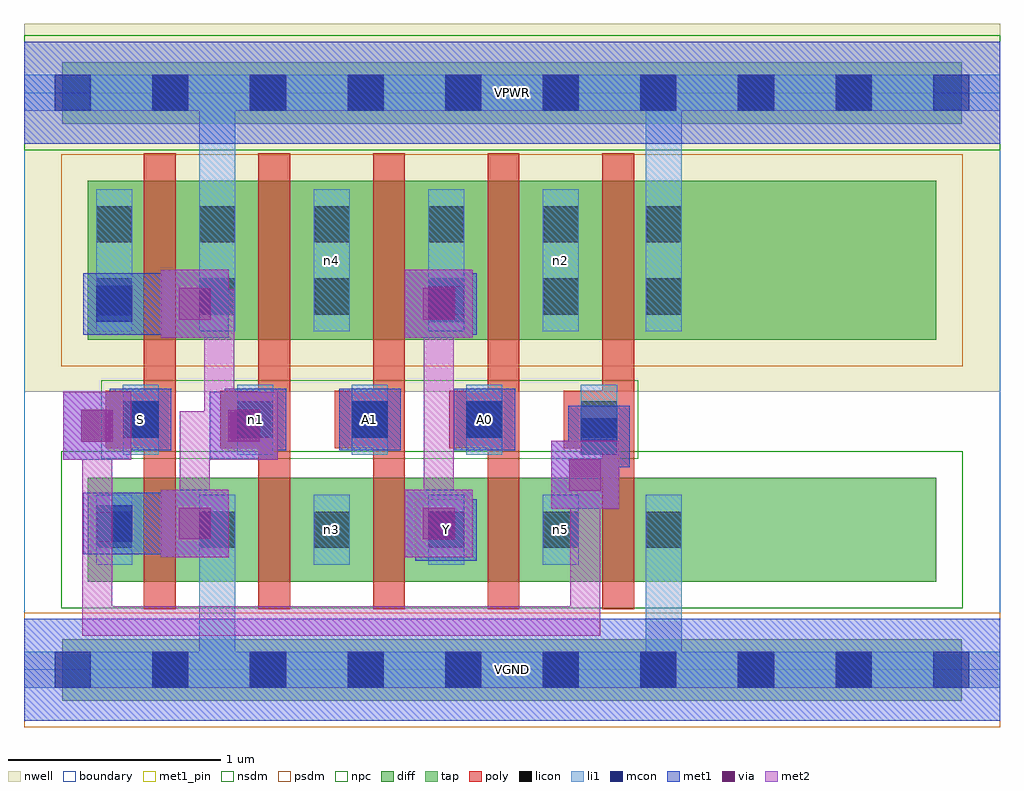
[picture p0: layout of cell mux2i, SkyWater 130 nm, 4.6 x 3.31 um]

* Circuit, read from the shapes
.subckt mux2i A0 A1 S VGND VPWR Y n1 n2 n3 n4 n5
XM1 VGND S n1 VGND sky130_fd_pr__nfet_01v8 w=0.49 l=0.15
XM2 n3 n1 VGND VGND sky130_fd_pr__nfet_01v8 w=0.49 l=0.15
XM3 Y A1 n3 VGND sky130_fd_pr__nfet_01v8 w=0.49 l=0.15
XM4 n5 A0 Y VGND sky130_fd_pr__nfet_01v8 w=0.49 l=0.15
XM5 VGND S n5 VGND sky130_fd_pr__nfet_01v8 w=0.49 l=0.15
XM6 VPWR S n1 VPWR sky130_fd_pr__pfet_01v8 w=0.75 l=0.15
XM7 n4 n1 VPWR VPWR sky130_fd_pr__pfet_01v8 w=0.75 l=0.15
XM8 Y A1 n4 VPWR sky130_fd_pr__pfet_01v8 w=0.75 l=0.15
XM9 n2 A0 Y VPWR sky130_fd_pr__pfet_01v8 w=0.75 l=0.15
XM10 VPWR S n2 VPWR sky130_fd_pr__pfet_01v8 w=0.75 l=0.15
.ends

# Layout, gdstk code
import gdstk
lib = gdstk.Library(unit=1e-6, precision=1e-09)
def R(c, l, rs):  # rectangles x0, y0, x1, y1
    for r in rs: c.add(gdstk.rectangle(r[:2], r[2:], *l))
def A(c, l, x, y, w, h, nx, ny, dx, dy):  # array of equal rectangles
    R(c, l, [(x+i*dx, y+j*dy, x+i*dx+w, y+j*dy+h) for i in range(nx) for j in range(ny)])
nwell = (64, 20)
diff = (65, 20)
tap = (65, 44)
poly = (66, 20)
licon = (66, 44)
li1 = (67, 20)
mcon = (67, 44)
met1_pin = (68, 16)
met1 = (68, 20)
via = (68, 44)
met2 = (69, 20)
nsdm = (93, 44)
psdm = (94, 20)
npc = (95, 20)
boundary = (235, 4)

mux2i = lib.new_cell('mux2i')
R(mux2i, nwell, [(0,1.31,4.6,3.045)])
R(mux2i, diff, [(0.3,0.415,4.3,0.905), (0.3,1.555,4.3,2.305)])
R(mux2i, tap, [(0.18,-0.145,4.42,0.145), (0.18,2.575,4.42,2.865)])
A(mux2i, poly, 0.565, 0.285, 0.15, 2.15, 5, 1, 0.54, 0)
A(mux2i, poly, 0.385, 1.045, 0.33, 0.27, 5, 1, 0.54, 0)
A(mux2i, licon, 0.605, -0.085, 0.17, 0.17, 8, 2, 0.46, 2.72)
A(mux2i, licon, 0.825, 0.575, 0.17, 0.17, 4, 2, 0.54, 1.1)
A(mux2i, licon, 0.465, 1.095, 0.17, 0.17, 5, 1, 0.54, 0)
A(mux2i, licon, 0.825, 2.015, 0.17, 0.17, 4, 1, 0.54, 0)
R(mux2i, licon, [(0.34,0.575,0.51,0.745), (2.93,0.575,3.1,0.745), (0.34,1.675,0.51,1.845), (2.93,1.675,3.1,1.845), (0.34,2.015,0.51,2.185), (2.93,2.015,3.1,2.185)])
A(mux2i, li1, 0.825, 0.495, 0.17, 0.33, 4, 1, 0.54, 0)
A(mux2i, li1, 0.465, 1.015, 0.17, 0.33, 5, 1, 0.54, 0)
A(mux2i, li1, 0.825, 1.595, 0.17, 0.67, 4, 1, 0.54, 0)
R(mux2i, li1, [(0,-0.085,4.6,0.085), (0.825,-0.085,0.995,0.825), (2.93,-0.085,3.1,0.825), (0.34,0.495,0.51,0.825), (2.93,0.495,3.1,0.825), (0.34,1.595,0.51,2.265), (0.825,1.595,0.995,2.805), (2.93,1.595,3.1,2.265), (2.93,1.595,3.1,2.805), (0,2.635,4.6,2.805)])
A(mux2i, mcon, 0.145, -0.085, 0.17, 0.17, 10, 2, 0.46, 2.72)
A(mux2i, mcon, 0.465, 1.095, 0.17, 0.17, 4, 1, 0.54, 0)
R(mux2i, mcon, [(1.905,0.575,2.075,0.745), (0.34,0.605,0.51,0.775), (2.625,1.015,2.795,1.185), (0.34,1.64,0.51,1.81), (1.905,1.64,2.075,1.81)])
A(mux2i, met1_pin, 0.405, 1.035, 0.29, 0.29, 4, 1, 0.54, 0)
R(mux2i, met1_pin, [(0,-0.24,4.6,0.24), (1.845,0.515,2.135,0.805), (0,2.48,4.6,2.96)])
A(mux2i, met1, 0.405, 1.035, 0.29, 0.29, 4, 1, 0.54, 0)
R(mux2i, met1, [(0,-0.24,4.6,0.24), (1.845,0.515,2.135,0.805), (0.645,0.53,0.965,0.85), (1.795,0.53,2.115,0.85), (0.28,0.545,0.57,0.835), (0.57,0.545,0.645,0.835), (0.355,0.62,0.645,0.76), (0.505,0.62,0.875,0.76), (1.885,0.62,2.025,0.76), (2.485,0.76,2.805,1.08), (2.575,0.85,2.715,1.17), (2.565,0.955,2.855,1.245), (0.185,0.99,0.505,1.31), (0.875,0.99,1.195,1.31), (2.575,1.03,2.78,1.17), (0.275,1.08,0.645,1.22), (0.505,1.08,0.645,1.22), (0.965,1.08,1.105,1.22), (0.645,1.565,0.965,1.885), (1.795,1.565,2.115,1.885), (0.28,1.58,0.57,1.87), (0.57,1.58,0.645,1.87), (1.845,1.58,2.135,1.87), (0.355,1.655,0.645,1.795), (0.505,1.655,0.875,1.795), (1.885,1.655,2.06,1.795), (0,2.48,4.6,2.96)])
R(mux2i, via, [(0.73,0.615,0.88,0.765), (1.88,0.615,2.03,0.765), (2.57,0.845,2.72,0.995), (0.27,1.075,0.42,1.225), (0.96,1.075,1.11,1.225), (0.73,1.65,0.88,1.8), (1.88,1.65,2.03,1.8)])
R(mux2i, met2, [(0.275,0.16,0.415,1.22), (0.275,0.16,2.715,0.3), (2.575,0.16,2.715,0.99), (0.645,0.53,0.965,0.85), (1.795,0.53,2.115,0.85), (0.735,0.62,0.875,1.22), (1.885,0.62,2.025,1.795), (2.485,0.76,2.805,1.08), (0.185,0.99,0.505,1.31), (0.875,0.99,1.195,1.31), (0.735,1.08,1.105,1.22), (0.85,1.08,0.99,1.795), (0.645,1.565,0.965,1.885), (1.795,1.565,2.115,1.885), (0.735,1.655,0.99,1.795)])
R(mux2i, nsdm, [(0.175,0.29,4.425,1.03), (0,2.45,4.6,2.99)])
R(mux2i, psdm, [(0,-0.27,4.6,0.27), (0.175,1.43,4.425,2.43)])
R(mux2i, npc, [(0.365,0.995,2.895,1.365)])
R(mux2i, boundary, [(0,0,4.6,2.72)])
mux2i.add(gdstk.Label('n3', (1.45,0.66), layer=67, texttype=5))
mux2i.add(gdstk.Label('n5', (2.53,0.66), layer=67, texttype=5))
mux2i.add(gdstk.Label('n4', (1.45,1.93), layer=67, texttype=5))
mux2i.add(gdstk.Label('n2', (2.53,1.93), layer=67, texttype=5))
mux2i.add(gdstk.Label('S', (0.55,1.18), layer=68, texttype=5))
mux2i.add(gdstk.Label('n1', (1.09,1.18), layer=68, texttype=5))
mux2i.add(gdstk.Label('A1', (1.63,1.18), layer=68, texttype=5))
mux2i.add(gdstk.Label('A0', (2.17,1.18), layer=68, texttype=5))
mux2i.add(gdstk.Label('Y', (1.99,0.66), layer=68, texttype=5))
mux2i.add(gdstk.Label('VPWR', (2.3,2.72), layer=68, texttype=5))
mux2i.add(gdstk.Label('VGND', (2.3,0), layer=68, texttype=5))
mux2i.add(gdstk.Label('S', (0.55,1.18), layer=68, texttype=16))
mux2i.add(gdstk.Label('n1', (1.09,1.18), layer=68, texttype=16))
mux2i.add(gdstk.Label('A1', (1.63,1.18), layer=68, texttype=16))
mux2i.add(gdstk.Label('A0', (2.17,1.18), layer=68, texttype=16))
mux2i.add(gdstk.Label('Y', (1.99,0.66), layer=68, texttype=16))
mux2i.add(gdstk.Label('VPWR', (2.3,2.72), layer=68, texttype=16))
mux2i.add(gdstk.Label('VGND', (2.3,0), layer=68, texttype=16))

lib.write_gds('mux2i.gds')
